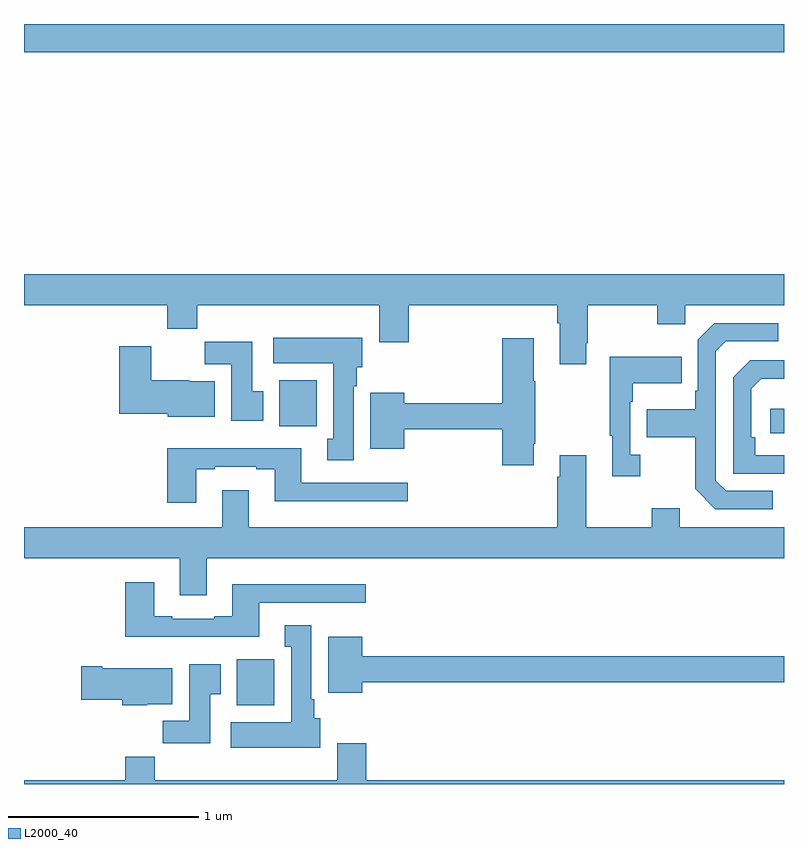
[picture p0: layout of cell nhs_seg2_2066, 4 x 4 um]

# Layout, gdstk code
import gdstk
lib = gdstk.Library(unit=1e-6, precision=1e-09)
def R(c, l, rs):  # rectangles x0, y0, x1, y1
    for r in rs: c.add(gdstk.rectangle(r[:2], r[2:], *l))
def P(c, l, *ps):  # polygons
    for p in ps: c.add(gdstk.Polygon(p, *l))
L2000_40 = (2000, 40)

nhs_seg2_2066 = lib.new_cell('nhs_seg2_2066')
R(nhs_seg2_2066, L2000_40, [(220.121,628.214,220.318,628.456), (222.927,629.646,223,629.776), (220.343,629.684,220.54,629.926), (219,631.652,223,631.8)])
P(nhs_seg2_2066, L2000_40, [(221.959,630.121),(221.967,630.121),(221.967,630.32),(222.334,630.32),(222.334,630.221),(222.48,630.221),(222.48,630.32),(223,630.32),(223,630.484),(219,630.484),(219,630.32),(219.755,630.32),(219.755,630.196),(219.911,630.196),(219.911,630.32),(220.871,630.32),(220.871,630.126),(221.024,630.126),(221.024,630.32),(221.807,630.32),(221.807,630.224),(221.819,630.224),(221.819,630.009),(221.959,630.009)],
  [(222.94,629.343),(222.696,629.343),(222.642,629.397),(222.642,630.078),(222.693,630.129),(222.97,630.129),(222.97,630.225),(222.633,630.225),(222.546,630.138),(222.546,629.869),(222.534,629.869),(222.534,629.773),(222.277,629.773),(222.277,629.626),(222.534,629.626),(222.534,629.353),(222.639,629.247),(222.94,629.247)],
  [(220.735,629.894),(220.75,629.894),(220.75,629.994),(220.78,629.994),(220.78,630.148),(220.311,630.148),(220.311,630.014),(220.628,630.014),(220.628,629.618),(220.595,629.618),(220.595,629.505),(220.735,629.505)],
  [(221.683,629.59),(221.691,629.59),(221.691,629.921),(221.683,629.921),(221.683,630.145),(221.516,630.145),(221.516,629.804),(221.002,629.804),(221.002,629.86),(220.823,629.86),(220.823,629.564),(221.002,629.564),(221.002,629.668),(221.516,629.668),(221.516,629.478),(221.683,629.478)],
  [(220.258,629.868),(220.201,629.868),(220.201,630.127),(219.952,630.127),(219.952,630.008),(220.091,630.008),(220.091,629.712),(220.258,629.712)],
  [(220.003,629.92),(219.87,629.92),(219.87,629.926),(219.67,629.926),(219.67,630.103),(219.5,630.103),(219.5,629.75),(219.756,629.75),(219.756,629.732),(220.003,629.732)],
  [(222.244,629.534),(222.192,629.534),(222.192,629.813),(222.205,629.813),(222.205,629.909),(222.461,629.909),(222.461,630.049),(222.084,630.049),(222.084,629.633),(222.095,629.633),(222.095,629.421),(222.244,629.421)],
  [(223,629.529),(222.848,629.529),(222.848,629.626),(222.828,629.626),(222.828,629.88),(222.881,629.933),(223,629.933),(223,630.03),(222.822,630.03),(222.732,629.94),(222.732,629.433),(223,629.433)],
  [(219.907,629.457),(220.003,629.457),(220.003,629.469),(220.223,629.469),(220.223,629.457),(220.319,629.457),(220.319,629.288),(221.02,629.288),(221.02,629.385),(220.459,629.385),(220.459,629.566),(219.755,629.566),(219.755,629.28),(219.907,629.28)],
  [(219.961,628.988),(223,628.988),(223,629.152),(222.451,629.152),(222.451,629.251),(222.304,629.251),(222.304,629.152),(221.959,629.152),(221.959,629.53),(221.819,629.53),(221.819,629.417),(221.807,629.417),(221.807,629.152),(220.183,629.152),(220.183,629.347),(220.043,629.347),(220.043,629.152),(219,629.152),(219,628.988),(219.821,628.988),(219.821,628.794),(219.961,628.794)],
  [(220.237,628.755),(220.798,628.755),(220.798,628.852),(220.097,628.852),(220.097,628.684),(220.001,628.684),(220.001,628.671),(219.781,628.671),(219.781,628.684),(219.685,628.684),(219.685,628.861),(219.533,628.861),(219.533,628.574),(220.237,628.574)],
  [(220.558,628.146),(220.528,628.146),(220.528,628.246),(220.513,628.246),(220.513,628.636),(220.373,628.636),(220.373,628.523),(220.406,628.523),(220.406,628.126),(220.089,628.126),(220.089,627.992),(220.558,627.992)],
  [(220.78,628.336),(223,628.336),(223,628.472),(220.78,628.472),(220.78,628.576),(220.601,628.576),(220.601,628.28),(220.78,628.28)],
  [(219.979,628.273),(220.036,628.273),(220.036,628.429),(219.869,628.429),(219.869,628.132),(219.73,628.132),(219.73,628.014),(219.979,628.014)],
  [(219.648,628.22),(219.781,628.22),(219.781,628.408),(219.412,628.408),(219.412,628.421),(219.3,628.421),(219.3,628.243),(219.518,628.243),(219.518,628.214),(219.648,628.214)],
  [(223,627.82),(220.802,627.82),(220.802,628.015),(220.649,628.015),(220.649,627.82),(219.689,627.82),(219.689,627.944),(219.533,627.944),(219.533,627.82),(219,627.82),(219,627.8),(223,627.8)])

lib.write_gds('nhs_seg2_2066.gds')
